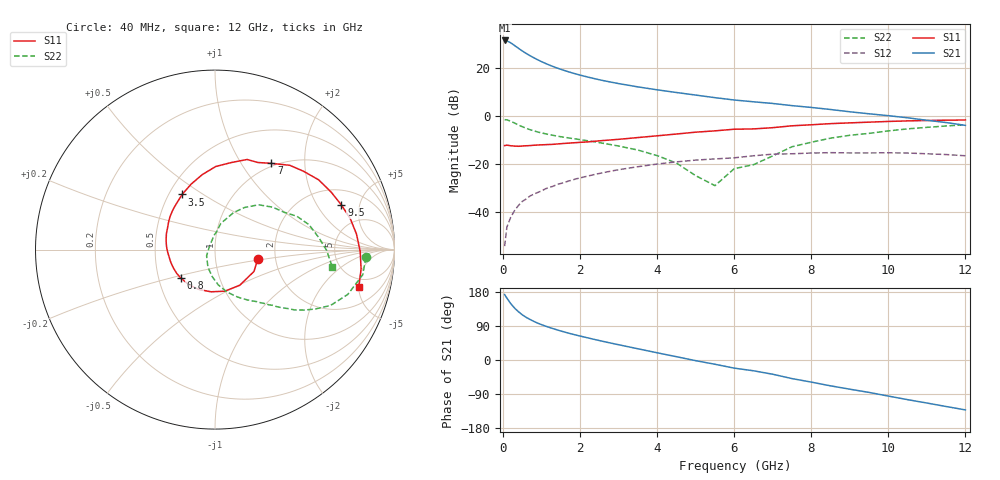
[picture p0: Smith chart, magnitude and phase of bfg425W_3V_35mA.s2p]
! Filename: 335bfg425.001
! BFG425W Field C1
! V1=8.585E-001V,V2=3.000E+000V, I1=5.159E-004A, I2=3.507E-002A
# GHz  S  MA  R 50
!  S11  S21  S12  S22
!Freq(GHz)  Mag  Ang  Mag  Ang  Mag  Ang  Mag  Ang
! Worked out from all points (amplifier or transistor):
!   44 points, 40 MHz to 12 GHz, reference 50 ohm
!   highest |S21| = 31.4 dB at 40 MHz (marker M1)
!   |S21| within 3 dB of that: start of sweep to 376.8 MHz
!   unconditionally stable (mu >= 1): start of sweep to 84.11 MHz; 818.9 MHz to end of sweep
!   at 700 MHz: K = 0.95, MSG = 29.1 dB, |S12| = -33.2 dB
!   at 2.4 GHz: K = 1.24, MAG = 16.8 dB, |S12| = -24.2 dB
!   at 12 GHz: K = 1.40, MAG = 2.6 dB, |S12| = -16.5 dB
!   S11 on the Smith chart (normalised r, x): 40 MHz: 1.61, -0.18; 800 MHz: 0.65, -0.22; 3.5 GHz: 0.58, +0.41; 7 GHz: 0.96, +1.37; 9.5 GHz: 2.96, +3.33; 12 GHz: 3.83, -5.04
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0.04  0.244 -12.6  36.97 172.7  0.002 59.9  0.842 -3.0
0.1  0.249 -29.2  36.09 163.2  0.005 75.7  0.835 -9.6
0.2  0.242 -55.3  33 148.6  0.008 71.8  0.781 -18.6
0.3  0.238 -76.9  28.96 136.9  0.011 68.9  0.715 -25.8
0.4  0.236 -95.2  25.38 127.3  0.014 67.2  0.65 -30.6
0.5  0.239 -110.7  22.39 119.1  0.017 65.0  0.601 -34.1
0.6  0.242 -122.4  19.89 112.5  0.019 64.1  0.557 -37.1
0.8  0.248 -140.6  16.15 101.8  0.024 62.5  0.493 -41.1
1  0.253 -155.0  13.42 93.2  0.028 61.3  0.446 -44.1
1.3  0.259 -171.2  10.63 82.7  0.035 59.3  0.398 -48.4
1.7  0.274 172.2  8.272 70.8  0.045 56.1  0.352 -54.3
2.2  0.291 155.3  6.437 58.4  0.057 50.7  0.307 -61.8
2.8  0.32 138.1  5.051 44.6  0.072 43.2  0.255 -71.8
3.5  0.358 120.8  4.025 29.6  0.089 33.5  0.197 -84.8
4.5  0.424 99.6  3.078 8.7  0.112 18.4  0.106 -111.8
5.5  0.493 79.5  2.406 -11.3  0.129 2.7  0.036 147.6
6.5  0.541 63.7  1.975 -28.4  0.15 -9.8  0.098 85.4
7  0.574 56.8  1.824 -37.6  0.162 -17.5  0.149 77.6
8.5  0.696 34.0  1.367 -68.2  0.174 -46.2  0.348 45.9
9.5  0.747 19.4  1.113 -85.5  0.172 -62.5  0.437 28.4
10.5  0.793 6.3  0.92 -104.7  0.171 -80.7  0.542 14.8
12  0.828 -14.5  0.641 -131.7  0.15 -109.9  0.66 -8.3
